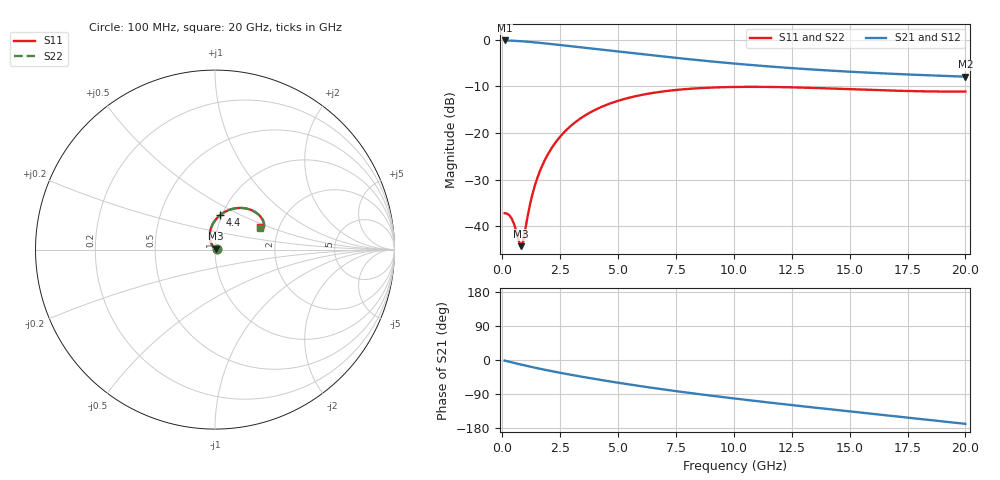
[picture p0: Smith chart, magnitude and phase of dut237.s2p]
! Touchstone file exported from HFSS 2023.1.0
!  File:  D:/Users/fzz/RDL_TSV/temp_RDL_TSV_237_1778759211.aedt
!  Generated:  7:59:02 %x4E0B%x5348  5%x6708 14, 2026
!  Design:  RDL_TSV
!  Project:  temp_RDL_TSV_237_1778759211
!  Setup:  Setup1
!  Solution:  Sweep
! Variables:
!  dtsv = 11.11um
!  hbump = 3um
!  htsv = 61.32um
!  ldown = 461.09um
!  lrdl = 261.6um
!  p = 40
!  p1 = 50.88um
!  rhole = 10um
!  subl = 2429.67um
!  t = 450um
!  tdown = 3.76um
!  trdl = 2.26um
!  viad = 10um
!  wdown = 22.1um
!  wrdl = 22.62um
!  xbump = 18um
# GHz S MA R 50.000000
! Terminal data exported
! Port[1] = TM1_1_T1
! Port[2] = TM1_4_T1
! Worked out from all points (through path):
!   200 points, 100 MHz to 20 GHz, reference 50 ohm
!   highest |S21| = -0.13 dB at 100 MHz (marker M1); lowest = -7.9 dB at 20 GHz (marker M2)
!   group delay of S21, straight-line fit = 22 ps
!   lowest |S11| = -44.3 dB at 800 MHz (marker M3), VSWR 1.01, Z = 50.4 + j0.503 ohm
!   |S11| at or under -10 dB: start of sweep to end of sweep
!   |S22| runs from -44.3 to -10.1 dB; largest |S21 - S12| = 9.4e-15
!   S11 on the Smith chart (normalised r, x): 100 MHz: 1.03, +0.00; 4.4 GHz: 0.98, +0.40; 20 GHz: 1.60, +0.43
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0.1  0.01383 2.6  0.9857 -1.6  0.9857 -1.6  0.01383 2.6
! Gamma 0 0 0 0
! Port Impedance 50 0 50 0
0.3  0.01316 5.8  0.9825 -4.6  0.9825 -4.6  0.01316 5.8
0.4  0.01216 7.5  0.9802 -6.1  0.9802 -6.1  0.01216 7.5
0.5  0.0107 10.6  0.9776 -7.6  0.9776 -7.6  0.01071 10.6
0.8  0.00612 54.7  0.9676 -11.9  0.9676 -11.9  0.006119 54.6
0.9  0.00686 84.4  0.9637 -13.3  0.9637 -13.3  0.006849 84.3
1.1  0.01304 114.6  0.955 -16.1  0.955 -16.1  0.01302 114.5
1.3  0.02199 121.7  0.9455 -18.9  0.9455 -18.9  0.02196 121.6
1.5  0.03226 122.2  0.9353 -21.5  0.9353 -21.5  0.03222 122.2
1.8  0.04916 119.3  0.9192 -25.3  0.9192 -25.3  0.04911 119.3
2.1  0.06711 114.9  0.9026 -29.0  0.9026 -29.0  0.06704 114.9
2.5  0.09162 108.5  0.8804 -33.8  0.8804 -33.8  0.09153 108.5
3  0.1219 100.5  0.8529 -39.4  0.8529 -39.4  0.1218 100.5
3.5  0.1505 93.0  0.826 -44.8  0.826 -44.8  0.1504 93.0
4.4  0.1962 81.0  0.7796 -54.1  0.7796 -54.1  0.1961 81.0
5.5  0.2403 68.7  0.7264 -64.7  0.7264 -64.7  0.2402 68.7
6.8  0.2767 57.0  0.6692 -76.3  0.6692 -76.3  0.2765 57.0
8.4  0.3022 45.7  0.6081 -89.3  0.6081 -89.3  0.302 45.7
10.1  0.3127 36.8  0.5548 -102.1  0.5548 -102.1  0.3125 36.8
13.4  0.3054 26.4  0.4808 -125.0  0.4808 -125.0  0.3053 26.3
16.7  0.2864 23.5  0.4341 -146.8  0.4341 -146.8  0.2864 23.4
20  0.2791 26.3  0.403 -168.5  0.403 -168.5  0.2791 26.2
